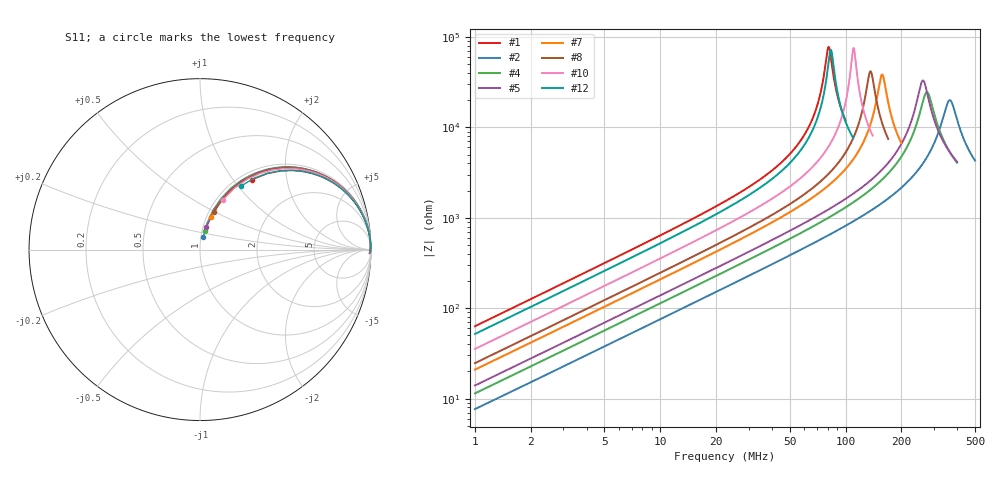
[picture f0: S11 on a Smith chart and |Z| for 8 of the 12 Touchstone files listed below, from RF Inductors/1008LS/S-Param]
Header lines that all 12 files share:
! 5 August 2002
# MHZ S MA R 50
!Freq  MagS11  AngS11  MagS21  AngS21  MagS12  AngS12  MagS22  AngS22
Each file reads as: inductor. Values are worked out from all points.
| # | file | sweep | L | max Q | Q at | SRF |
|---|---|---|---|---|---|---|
| 1 | 10LS103.S2P | 1 MHz to 100 MHz | 10 uH | 57.9 | 24.5 MHz | 81.25 MHz |
| 2 | 10LS122.S2P | 1 MHz to 500 MHz | 1.2 uH | 71.7 | 81.6 MHz | 368.8 MHz |
| 3 | 10LS152.S2P | 1 MHz to 400 MHz | 1.5 uH | 77.4 | 67 MHz | 304 MHz |
| 4 | 10LS182.S2P | 1 MHz to 400 MHz | 1.8 uH | 79.9 | 62 MHz | 277 MHz |
| 5 | 10LS222.S2P | 1 MHz to 400 MHz | 2.2 uH | 84.3 | 61 MHz | 263 MHz |
| 6 | 10LS272.S2P | 1 MHz to 300 MHz | 2.7 uH | 74.5 | 54.25 MHz | 229 MHz |
| 7 | 10LS332.S2P | 1 MHz to 200 MHz | 3.3 uH | 67.9 | 42.5 MHz | 158 MHz |
| 8 | 10LS392.S2P | 1 MHz to 170 MHz | 3.9 uH | 72.4 | 36.7 MHz | 136.7 MHz |
| 9 | 10LS472.S2P | 1 MHz to 170 MHz | 4.7 uH | 74.1 | 37.54 MHz | 137.5 MHz |
| 10 | 10LS562.S2P | 1 MHz to 140 MHz | 5.6 uH | 71.8 | 33.55 MHz | 110.5 MHz |
| 11 | 10LS682.S2P | 1 MHz to 130 MHz | 6.8 uH | 62.6 | 31.08 MHz | 104 MHz |
| 12 | 10LS822.S2P | 1 MHz to 110 MHz | 8.2 uH | 55.1 | 26.11 MHz | 83.35 MHz |
